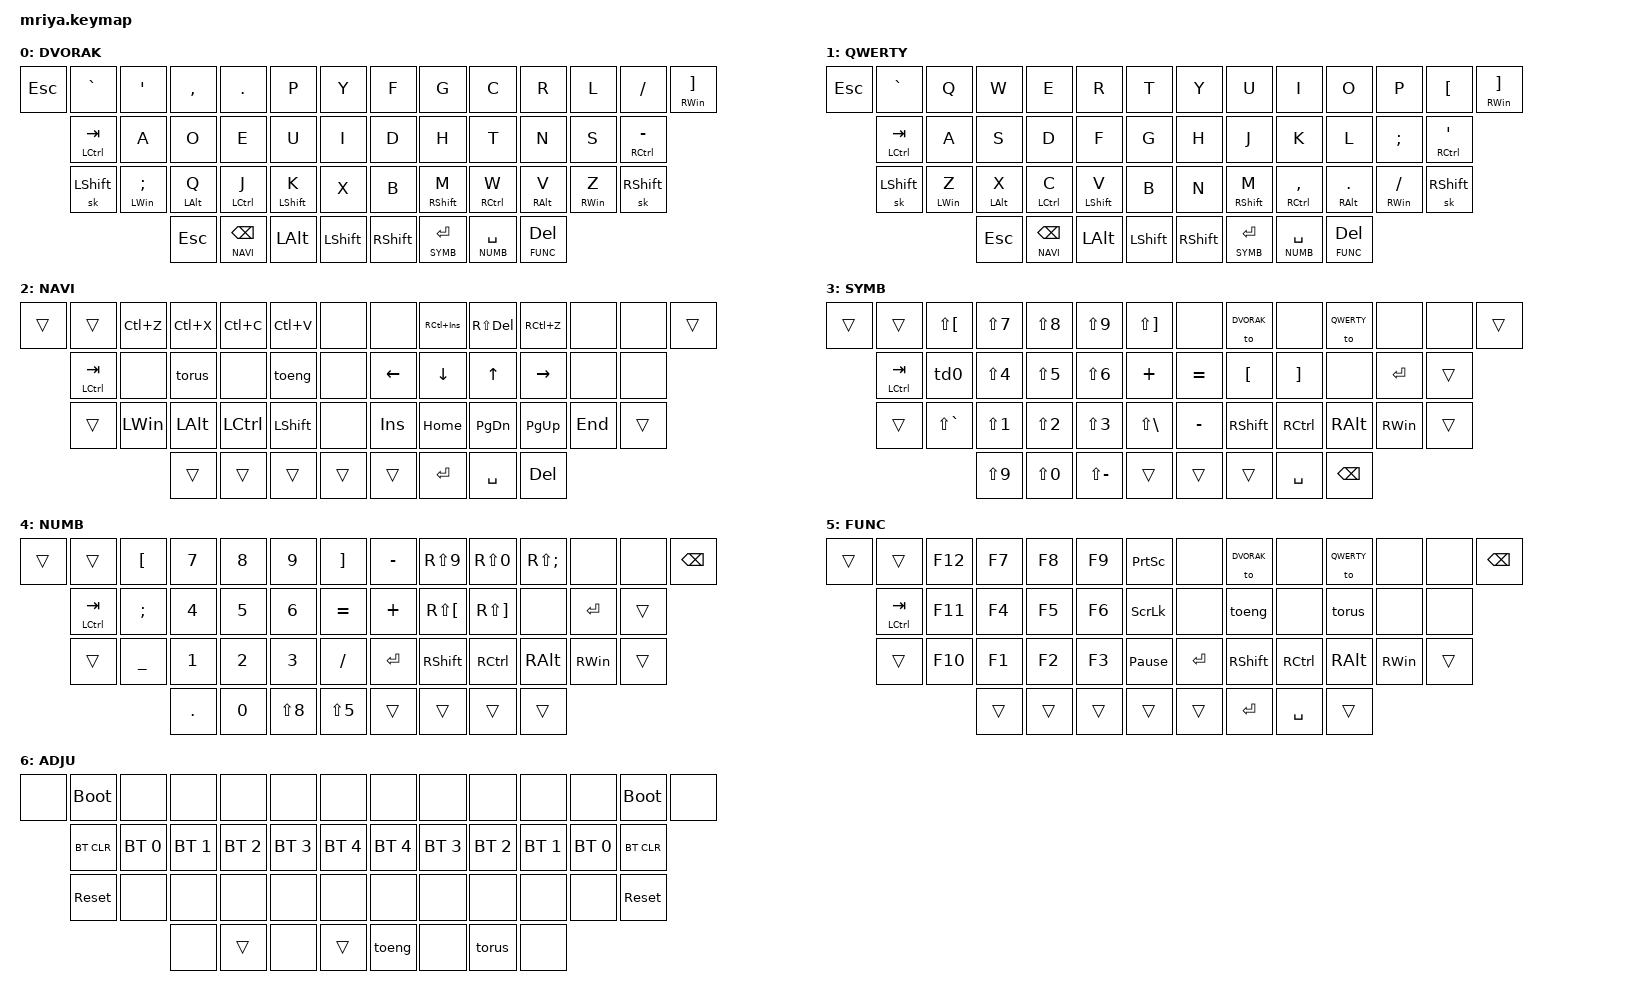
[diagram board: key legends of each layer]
/*
 * Copyright (c) 2023 Andrei Gaevskii
 *
 * SPDX-License-Identifier: MIT
 */

#include <behaviors.dtsi>
#include <dt-bindings/zmk/bt.h>
#include <dt-bindings/zmk/keys.h>

#define DVORAK 0
#define QWERTY 1
#define NAVI 2
#define SYMB 3
#define NUMB 4
#define FUNC 5
#define ADJU 6

&lt {
    quick_tap_ms = <200>;
};

&mt {
    quick_tap_ms = <200>;
    tapping-term-ms = <200>;
};

/ {
    macros {
        assign: assign {
            compatible = "zmk,behavior-macro";
            #binding-cells = <0>;
            bindings = <&macro_tap>, <&kp COLON &kp EQUAL &kp SPACE>;
        };
        torus: torus {
            compatible = "zmk,behavior-macro";
            #binding-cells = <0>;
            bindings = <&macro_tap>, <&to QWERTY>, <&kp LA(LSHFT)>;
        };
        toeng: toeng {
            compatible = "zmk,behavior-macro";
            #binding-cells = <0>;
            bindings = <&macro_tap>, <&to DVORAK>, <&kp LA(LSHFT)>;
        };
    };

    combos {
        compatible = "zmk,combos";
        combo_qmark {
            timeout-ms = <50>;
            layers = <QWERTY>;
            key-positions = <16 17>;
            bindings = <&kp AMPS>; /* qmark in russian map */
        };
        combo_excl {
            timeout-ms = <50>;
            layers = <QWERTY>;
            key-positions = <17 18>;
            bindings = <&kp EXCL>;
        };
        combo_commaRus {
            timeout-ms = <50>;
            layers = <QWERTY>;
            key-positions = <21 22>;
            bindings = <&kp QMARK>; /* comma in russian map */
        };
        combo_dotRus {
            timeout-ms = <50>;
            layers = <QWERTY>;
            key-positions = <22 23>;
            bindings = <&kp FSLH>; /* dot in russian map */
        };
        combo_bspc {
            timeout-ms = <50>;
            key-positions = <8 9>;
            require-prior-idle-ms = <150>;
            bindings = <&kp BSPC>;
        };
        combo_del {
            timeout-ms = <50>;
            key-positions = <9 10>;
            require-prior-idle-ms = <150>;
            bindings = <&kp DEL>;
        };
    };
    behaviors {
        td0: tap_dance_0 {
            compatible = "zmk,behavior-tap-dance";
            #binding-cells = <0>;
            tapping-term-ms = <200>;
            bindings = <&kp COLON>, <&assign>;
        };
        bhl: balanced_homerow_left {
            compatible = "zmk,behavior-hold-tap";
            #binding-cells = <2>;
            tapping-term-ms = <300>;    // <---[[moderate duration]]
            quick-tap-ms = <175>;
            require-prior-idle-ms = <150>;
            flavor = "balanced";
            bindings = <&kp>, <&kp>;
            hold-trigger-key-positions = <7 8 9 10 11 12 13 20 21 22 23 24 25 32 33 34 35 36 37 42 43 44 45>;
            hold-trigger-on-release;
        };
        bhr: balanced_homerow_right {
            compatible = "zmk,behavior-hold-tap";
            #binding-cells = <2>;
            tapping-term-ms = <300>;    // <---[[moderate duration]]
            quick-tap-ms = <175>;
            require-prior-idle-ms = <150>;
            flavor = "balanced";
            bindings = <&kp>, <&kp>;
            hold-trigger-key-positions = <0 1 2 3 4 5 6 14 15 16 17 18 19 26 27 28 29 30 31 38 39 40 41>;
            hold-trigger-on-release;
        };
    };
    conditional_layers {
        compatible = "zmk,conditional-layers";
        tri_layer {
            if-layers = <NAVI FUNC>;
            then-layer = <ADJU>;
        };
    };

    keymap {
        compatible = "zmk,keymap";

        DVORAK {
            bindings = <
&kp ESC  &kp GRAVE      &kp SQT         &kp COMMA    &kp DOT         &kp P         &kp Y      &kp F      &kp G            &kp C            &kp R         &kp L        &kp SLASH        &mt RWIN RBKT
         &mt LCTRL TAB  &kp A           &kp O        &kp E           &kp U         &kp I      &kp D      &kp H            &kp T            &kp N         &kp S        &mt RCTRL MINUS
         &sk LSHFT      &bhl LWIN SEMI  &bhl LALT Q  &bhl LCTRL J    &bhl LSHFT K  &kp X      &kp B      &bhr RSHFT M     &bhr RCTRL W     &bhr RALT V   &bhr RWIN Z  &sk RSHFT
                                        &kp ESC      &lt NAVI BSPC   &kp LALT      &kp LSHFT  &kp RSHFT  &lt SYMB ENTER   &lt NUMB SPACE   &lt FUNC DEL
            >;
        };

        QWERTY {
            bindings = <
&kp ESC  &kp GRAVE      &kp Q        &kp W        &kp E          &kp R         &kp T      &kp Y      &kp U           &kp I             &kp O          &kp P           &kp LBKT       &mt RWIN RBKT
         &mt LCTRL TAB  &kp A        &kp S        &kp D          &kp F         &kp G      &kp H      &kp J           &kp K             &kp L          &kp SEMI        &mt RCTRL SQT
         &sk LSHFT      &bhl LWIN Z  &bhl LALT X  &bhl LCTRL C   &bhl LSHFT V  &kp B      &kp N      &bhr RSHFT M    &bhr RCTRL COMMA  &bhr RALT DOT  &bhr RWIN FSLH  &sk RSHFT
                                     &kp ESC      &lt NAVI BSPC  &kp LALT      &kp LSHFT  &kp RSHFT  &lt SYMB ENTER  &lt NUMB SPACE    &lt FUNC DEL
            >;
        };

        NAVI {
            bindings = <
&trans  &trans         &kp LC(Z)  &kp LC(X)  &kp LC(C)  &kp LC(V)  &none     &none     &kp RC(INS)  &kp RS(DEL)  &kp RC(Z)  &none    &none   &trans
        &mt LCTRL TAB  &none      &torus     &none      &toeng     &none     &kp LEFT  &kp DOWN     &kp UP       &kp RIGHT  &none    &none
        &trans         &kp LWIN   &kp LALT   &kp LCTRL  &kp LSHFT  &none     &kp INS   &kp HOME     &kp PG_DN    &kp PG_UP  &kp END  &trans
                                  &trans     &trans     &trans     &trans    &trans    &kp ENTER    &kp SPACE    &kp DEL
            >;
        };

        SYMB {
            bindings = <
&trans  &trans         &kp LS(LBKT)   &kp LS(N7)  &kp LS(N8)  &kp LS(N9)     &kp LS(RBKT)         &none      &to DVORAK  &none      &to QWERTY  &none      &none   &trans
        &mt LCTRL TAB  &td0           &kp LS(N4)  &kp LS(N5)  &kp LS(N6)     &kp PLUS             &kp EQUAL  &kp LBKT    &kp RBKT   &none       &kp ENTER  &trans
        &trans         &kp LS(GRAVE)  &kp LS(N1)  &kp LS(N2)  &kp LS(N3)     &kp LS(BACKSLASH)    &kp MINUS  &kp RSHFT   &kp RCTRL  &kp RALT    &kp RWIN   &trans
                                      &kp LS(N9)  &kp LS(N0)  &kp LS(MINUS)  &trans               &trans     &trans      &kp SPACE  &kp BSPC
            >;
        };

        NUMB {
            bindings = <
&trans  &trans         &kp LBKT   &kp N7   &kp N8  &kp N9      &kp RBKT     &kp MINUS  &kp RS(N9)    &kp RS(N0)    &kp RS(SEMI)  &none      &none   &kp BSPC
        &mt LCTRL TAB  &kp SEMI   &kp N4   &kp N5  &kp N6      &kp EQUAL    &kp PLUS   &kp RS(LBKT)  &kp RS(RBKT)  &none         &kp ENTER  &trans
        &trans         &kp UNDER  &kp N1   &kp N2  &kp N3      &kp SLASH    &kp ENTER  &kp RSHFT     &kp RCTRL     &kp RALT      &kp RWIN   &trans
                                  &kp DOT  &kp N0  &kp LS(N8)  &kp LS(N5)   &trans     &trans        &trans        &trans
            >;
        };

        FUNC {
            bindings = <
&trans  &trans         &kp F12   &kp F7   &kp F8  &kp F9  &kp PSCRN        &none      &to DVORAK  &none      &to QWERTY  &none     &none   &kp BSPC
        &mt LCTRL TAB  &kp F11   &kp F4   &kp F5  &kp F6  &kp SLCK         &none      &toeng      &none      &torus      &none     &none
        &trans         &kp F10   &kp F1   &kp F2  &kp F3  &kp PAUSE_BREAK  &kp ENTER  &kp RSHFT   &kp RCTRL  &kp RALT    &kp RWIN  &trans
                                 &trans   &trans  &trans  &trans           &trans     &kp ENTER   &kp SPACE  &trans
            >;
        };

        ADJU {
            bindings = <
&none  &bootloader    &none         &none         &none         &none         &none           &none         &none         &none         &none         &none          &bootloader  &none
       &bt BT_CLR     &bt BT_SEL 0  &bt BT_SEL 1  &bt BT_SEL 2  &bt BT_SEL 3  &bt BT_SEL 4    &bt BT_SEL 4  &bt BT_SEL 3  &bt BT_SEL 2  &bt BT_SEL 1  &bt BT_SEL 0   &bt BT_CLR
       &sys_reset     &none         &none         &none         &none         &none           &none         &none         &none         &none         &none          &sys_reset
                                    &none         &trans        &none         &trans          &toeng        &none         &torus        &none
            >;
        };

    };
};
